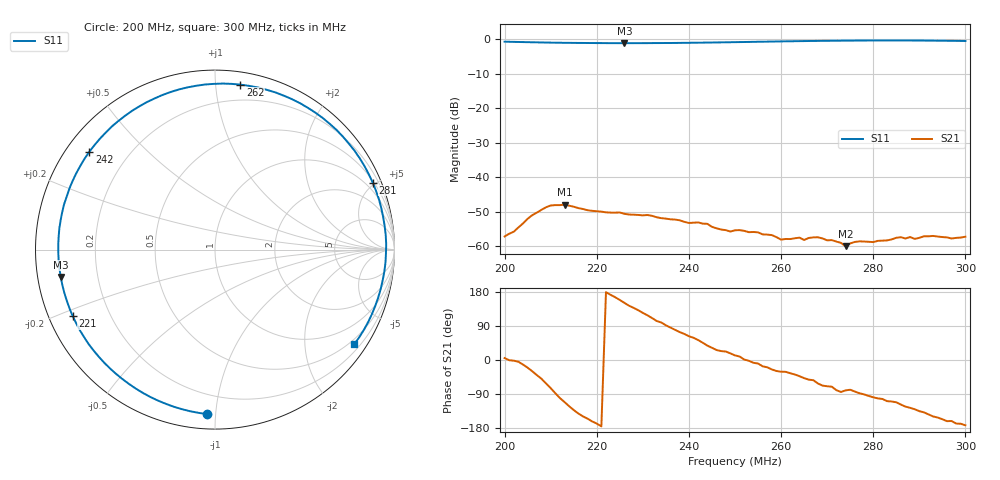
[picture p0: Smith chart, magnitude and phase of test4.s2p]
# HZ S RI R 50
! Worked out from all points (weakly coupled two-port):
!   101 points, 200 MHz to 300 MHz, reference 50 ohm
!   highest |S21| = -47.99 dB at 213 MHz (marker M1); lowest = -60.0 dB at 274 MHz (marker M2)
!   lowest |S11| = -1.2 dB at 226 MHz (marker M3), VSWR 14.74, Z = 3.42 - j4.37 ohm
!   |S11| at or under -10 dB: nowhere
!   S12 and S22 are empty: the file has one direction only
!   S11 on the Smith chart (normalised r, x): 200 MHz: 0.08, -0.95; 221 MHz: 0.07, -0.22; 242 MHz: 0.07, +0.34; 262 MHz: 0.09, +1.16; 281 MHz: 0.57, +4.85; 300 MHz: 0.36, -3.21
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2e8  -0.0429 -0.9169  0.00137 0.000123  0 0  0 0
2.09e8  -0.4392 -0.7755  0.00172 -0.00323  0 0  0 0
2.13e8  -0.5838 -0.6631  -0.00142 -0.00372  0 0  0 0
2.17e8  -0.7031 -0.5276  -0.00295 -0.00179  0 0  0 0
2.21e8  -0.7933 -0.3696  -0.00315 -0.000273  0 0  0 0
2.26e8  -0.8595 -0.1523  -0.00256 0.00144  0 0  0 0
2.34e8  -0.8512 0.2092  -0.000397 0.00251  0 0  0 0
2.42e8  -0.7006 0.5446  0.00134 0.00175  0 0  0 0
2.49e8  -0.4627 0.7727  0.00155 0.000488  0 0  0 0
2.5e8  -0.4227 0.7977  0.00166 0.000357  0 0  0 0
2.56e8  -0.1534 0.9039  0.00142 -0.000422  0 0  0 0
2.6e8  0.0425 0.9251  0.00106 -0.000638  0 0  0 0
2.62e8  0.1418 0.919  0.00104 -0.000725  0 0  0 0
2.67e8  0.3843 0.8573  0.000798 -0.00107  0 0  0 0
2.71e8  0.5614 0.7615  0.00041 -0.00115  0 0  0 0
2.74e8  0.6779 0.6661  0.000171 -0.000983  0 0  0 0
2.76e8  0.7468 0.5889  0.000135 -0.00114  0 0  0 0
2.81e8  0.8788 0.3734  -0.000234 -0.00117  0 0  0 0
2.84e8  0.927 0.2296  -0.000417 -0.00118  0 0  0 0
2.92e8  0.9345 -0.1695  -0.00112 -0.000824  0 0  0 0
2.97e8  0.8536 -0.4032  -0.00122 -0.00042  0 0  0 0
3e8  0.776 -0.5274  -0.00136 -0.000182  0 0  0 0
